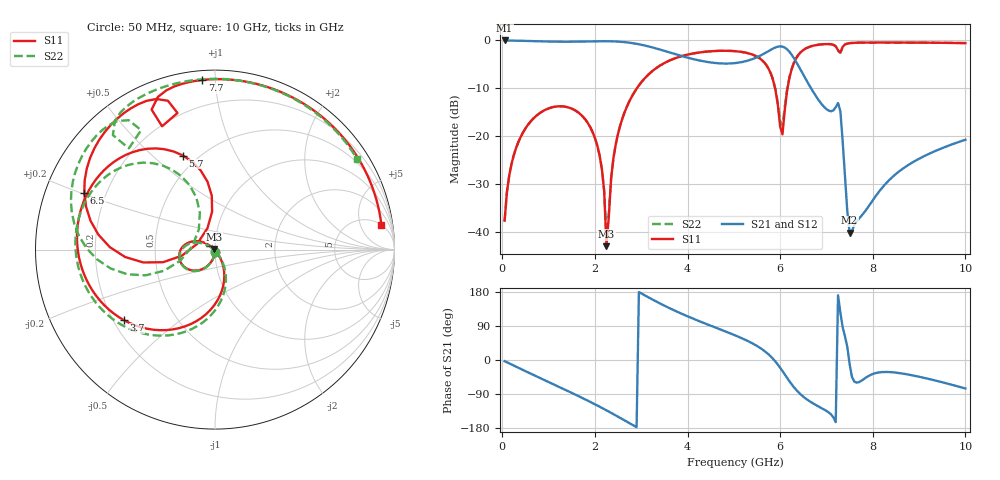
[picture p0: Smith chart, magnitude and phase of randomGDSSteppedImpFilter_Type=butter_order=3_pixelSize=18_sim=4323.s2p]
! freq	dB(S11)	phase(S11)	dB(S12)	phase(S12)
!  dB(S21)	phase(S21)	dB(S22)	phase(S22)
!S-par simulation data
#  GHz  S  DB  R 50
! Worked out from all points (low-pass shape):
!   200 points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, 50 MHz to 10 GHz, reference 50 ohm
!   highest |S21| = 0.00 dB at 50 MHz (marker M1); lowest = -40.2 dB at 7.5 GHz (marker M2)
!   |S21| within 3 dB of the highest: start of sweep to 3.782 GHz; 5.606 GHz to 6.25 GHz (643.7 MHz wide, 10.9 % of centre)
!   lowest |S11| = -43.0 dB at 2.25 GHz (marker M3), VSWR 1.01, Z = 49.4 + j0.309 ohm
!   |S11| at or under -10 dB: start of sweep to 2.907 GHz; 5.889 GHz to 6.16 GHz (270.4 MHz wide, 4.49 % of centre)
!   |S22| runs from -41.7 to -0.4 dB; largest |S21 - S12| = 0
!   S11 on the Smith chart (normalised r, x): 50 MHz: 1.00, -0.03; 3.7 GHz: 0.24, -0.32; 5.7 GHz: 0.42, +0.63; 6.5 GHz: 0.12, +0.20; 7.7 GHz: 0.05, +0.93; 10 GHz: 5, +11
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0.05  -37.71 -92.7  -0.00 -3.0  -0.00 -3.0  -37.70 -92.6
0.2  -25.81 -102.1  -0.03 -11.9  -0.03 -11.9  -25.81 -101.7
0.55  -17.70 -123.3  -0.12 -32.3  -0.12 -32.3  -17.70 -122.3
1.75  -16.04 166.8  -0.23 -101.5  -0.23 -101.5  -16.05 170.3
2.1  -23.98 146.0  -0.17 -123.1  -0.17 -123.1  -23.99 151.9
2.2  -31.49 142.3  -0.16 -129.6  -0.16 -129.6  -31.45 151.9
2.25  -43.03 153.6  -0.17 -132.8  -0.17 -132.8  -41.67 177.8
2.4  -24.64 -58.1  -0.20 -142.8  -0.20 -142.8  -24.57 -57.0
2.55  -17.66 -67.2  -0.28 -153.1  -0.28 -153.1  -17.63 -64.3
3.4  -5.29 -124.3  -1.90 149.6  -1.90 149.6  -5.28 -118.6
3.7  -3.84 -142.3  -2.77 131.7  -2.77 131.7  -3.84 -135.9
5.05  -2.27 149.7  -4.71 63.9  -4.71 63.9  -2.26 160.1
5.7  -5.14 108.8  -2.50 20.0  -2.50 20.0  -5.11 122.2
6.05  -19.64 162.0  -1.30 -29.1  -1.30 -29.1  -17.87 171.4
6.2  -7.84 -169.8  -2.37 -56.0  -2.37 -56.0  -7.68 -159.7
6.5  -2.01 156.6  -7.16 -96.8  -7.16 -96.8  -1.98 169.8
6.7  -1.14 140.1  -10.54 -113.8  -10.54 -113.8  -1.12 154.3
7.3  -2.53 113.2  -14.77 125.1  -14.77 125.1  -2.61 130.4
7.5  -0.57 104.0  -40.22 -10.7  -40.22 -10.7  -0.56 121.7
7.7  -0.47 94.3  -37.29 -58.5  -37.29 -58.5  -0.46 112.7
8.35  -0.43 68.5  -29.25 -31.7  -29.25 -31.7  -0.43 89.1
10  -0.56 8.4  -20.77 -75.2  -20.77 -75.2  -0.55 32.7
